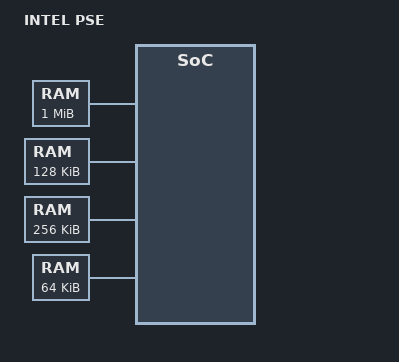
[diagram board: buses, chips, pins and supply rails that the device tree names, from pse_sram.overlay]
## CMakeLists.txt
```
# SPDX-License-Identifier: Apache-2.0

cmake_minimum_required(VERSION 3.13.1)

set(DTC_OVERLAY_FILE ${CMAKE_CURRENT_SOURCE_DIR}/pse_sram.overlay)

include($ENV{ZEPHYR_BASE}/cmake/app/boilerplate.cmake NO_POLICY_SCOPE)
project(code_relocation_ccm)


target_sources(app PRIVATE src/main.c)
target_sources(app PRIVATE src/code_l2sram.c)
target_sources(app PRIVATE src/code_iccm.c)
target_sources(app PRIVATE src/code_tx_bss_data_split.c)

#This example will use ICCM and DCCM for Base FW and hence
#can only use L2SRAM memory for relocating Apps code
zephyr_code_relocate(src/code_l2sram.c L2SRAM)

zephyr_code_relocate(src/code_tx_bss_data_split.c L2SRAM_TEXT)
zephyr_code_relocate(src/code_tx_bss_data_split.c L2SRAM_BSS)
zephyr_code_relocate(src/code_tx_bss_data_split.c L2SRAM_DATA)
```

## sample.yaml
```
# Copyright (c) 2021 Intel Corporation
#
# SPDX-License-Identifier: Apache-2.0

sample:
  description: PSE CODE RELOCATION CCM EXAMPLE.
  name: code relocation ccm
common:
    tags: samples
    harness: console
    harness_config:
      type: one_line
tests:
    tags: samples
    platform_whitelist: pse_sram
```

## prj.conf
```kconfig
CONFIG_CODE_DATA_RELOCATION=y
CONFIG_LOG=n
CONFIG_EN_MPU_ICCM_MEM_ACCESS=y
CONFIG_EN_MPU_DCCM_MEM_ACCESS=y
CONFIG_EN_MPU_L2SRAM_MEM_ACCESS=y
CONFIG_EN_L2SRAM_RELOCATION_MEM=y
CONFIG_MPU_LOG_LEVEL=4
CONFIG_FLASH_SIZE=128
CONFIG_XIP=y
```

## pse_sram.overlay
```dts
/*
 * Copyright (c) 2019 Intel Corporation
 *
 * SPDX-License-Identifier: Apache-2.0
 */

/ {

	l2sram: memory@60000000{
		device_type = "memory";
		compatible = "mmio-sram";
		label = "l2sram";
		reg = <0x60000000 0x100000>;
	};

	iccm: memory@0{
		device_type = "memory";
		compatible = "mmio-sram";
		label = "iccm";
		reg = <0 0x00020000>;
	};

	dccm: memory@20000000{
		device_type = "memory";
		compatible = "mmio-sram";
		label = "dccm";
		reg = <0x20020000 0x00040000>;
	};

	aon_rf: memory@70000000{
		device_type = "memory";
		compatible = "mmio-sram";
		label = "aonrf";
		reg = <0x70000000 0x10000>;
	};

};

/ {
 model = "INTEL PSE";
 compatible = "intel,pse";
 chosen {
  zephyr,flash = &iccm;
  zephyr,sram = &dccm;
  zephyr,l2sram = &l2sram;
  zephyr,iccm = &iccm;
  zephyr,dccm = &dccm;
  zephyr,aonrf = &aon_rf;
  zephyr,console = &uart2;
  zephyr,shell-uart = &uart2;
 };
};
```

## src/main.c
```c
/*
 * Copyright (c) 2021 Intel Corporation
 *
 * SPDX-License-Identifier: Apache-2.0
 */

/**
 * @file
 * @brief Sample Application for code relocation
 * The sample application will demonstrate how to relocate the application
 * code text, data and bss section to available memory options, such as
 * ICCM, DCCM and L2SRAM memory.
 * This sample app will use ICCM and DCCM for Base FW.
 * There is a BSS section of the DCCM and L2SRAM that is used
 * especially for uninitialized variables.
 * Refer to the helper C files in this folder for the functions used
 * in the main function below.
 * The functions used below print the address of a variable stored in data
 * section and address of a varible stored in bss section of that memory.
 * CMakeLists file controls which memory is used for each of the helper C files
 * All the instructions, initialized and uninitialized variables in a helper
 * C file will be stored in the memory option mentioned in CMakeLists.
 * @{
 */

/**
 * @brief How to Build sample application.
 * Please refer “IntelPSE_SDK_Get_Started_Guide” for more details how
 * to build the sample codes.
 */

/**
 * @brief Hardware setup.
 * There is no specific external hardware setup required for the flexible
 * code relocation sample application.
 */

/* Local Includes */
#include <sys/printk.h>
#include <zephyr.h>

extern void function_in_ccm(void);
extern void function_in_l2sram(void);
extern void function_in_split_mem(void);

/* @brief main function
 * Code relocation using CCM for Base FW
 * and L2SRAM for code text, data and bss sections.
 */
void main(void)
{
	printk("%s\n", __func__);

	printk("invoke function in L2SRAM..\n");
	function_in_l2sram();

	printk("invoke function in CCM..\n");
	function_in_ccm();

	printk("invoke function in split memory..\n");
	function_in_split_mem();
}

/**
 * @}
 */
```

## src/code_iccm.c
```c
/*
 * Copyright (c) 2021 Intel Corporation
 *
 * SPDX-License-Identifier: Apache-2.0
 */

/**
 * @brief An elementary function to use with the Closely Coupled Memory (CCM)
 * sample application (main.c)
 *
 * This function uses one initialized variable, one uninitialized variable,
 * and prints the address of the variables and the function itself.
 * Both variables will be stored in Data Closely Coupled Memory (DCCM).
 * The uninitialized variable will be stored in "BSS" section of the DCCM
 * that is used especially for uninitialized variables.
 */

/* Local Includes */
#include <sys/printk.h>
#include <zephyr.h>

/* Initialized Variable to be stored in DCCM */
uint32_t dccm_var_in_data_section = 10U;
/* Uninitialized Variable to be stored in the BSS section of the DCCM */
uint32_t dccm_var_in_bss;

/* Invoke function in CCM */
void function_in_ccm(void)
{
	printk("function in CCM at address:%p\n", function_in_ccm);
	printk("var_in_data_section in DCCM at address:%p\n",
	       &dccm_var_in_data_section);
	printk("var_in_bss in DCCM  at address:%p\n", &dccm_var_in_bss);
}
```

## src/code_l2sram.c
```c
/*
 * Copyright (c) 2021 Intel Corporation
 *
 * SPDX-License-Identifier: Apache-2.0
 */

/**
 * @brief An elementary function to use with the Closely Coupled Memory (CCM)
 * sample application (main.c)
 *
 * This function uses one initialized variable, one uninitialized variable,
 * and prints the address of the variables and the function itself.
 * Both variables will be stored in L2 SRAM Cache (L2SRAM).
 * The uninitialized variable will be stored in "BSS" section of the L2SRAM
 * that is used especially for uninitialized variables.
 */

/* Local Includes */
#include <sys/printk.h>
#include <zephyr.h>

/* Initialized Variable to be stored in L2SRAM */
uint32_t l2sram_var2_in_data_section = 10U;
/* Uninitialized Variable to be stored in the BSS section of the L2SRAM */
uint32_t l2sram_var2_in_bss;

/* Invoke function in L2SRAM */
void function_in_l2sram(void)
{
	printk("function in L2SRAM at address:%p\n", function_in_l2sram);
	printk("var_in_data_section in L2SRAM at address:%p\n",
	       &l2sram_var2_in_data_section);
	printk("var_in_bss  in L2SRAM at address:%p\n", &l2sram_var2_in_bss);
}
```

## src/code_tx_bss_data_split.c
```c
/*
 * Copyright (c) 2021 Intel Corporation
 *
 * SPDX-License-Identifier: Apache-2.0
 */

/**
 * @brief An elementary function to use with the Closely Coupled Memory (CCM)
 * sample application (main.c)
 *
 * This function demonstrates using two types of memory for one source file.
 * It uses one initialized variable, one uninitialized variable,
 * and prints the address of the varibles and the function itself.
 * The initialized variable will be stored in the L2SRAM Data section.
 * The uninitialized variable will be stored in "BSS" section of the
 * L2SRAM that is used especially for uninitialized variables.
 */

/* Local Includes */
#include <sys/printk.h>
#include <zephyr.h>

/* Initialized Variable to be stored in L2SRAM Data section */
uint32_t split_var_in_data_section = 10U;
/* Uninitialized Variable to be stored in the BSS section of the L2SRAM */
uint32_t split_var_in_bss;

/* Invoke function in split memory.
 * Code text and bss sections are stored in L2SRAM
 * and data section in AONRF.
 */
void function_in_split_mem(void)
{
	printk("function in split mem at address:%p\n", function_in_split_mem);
	printk("var_in_data_section in split mem (L2SRAM) at address:%p\n",
	       &split_var_in_data_section);
	printk("var_in_bss in split mem (L2SRAM) at address:%p\n",
	       &split_var_in_bss);
}
```
